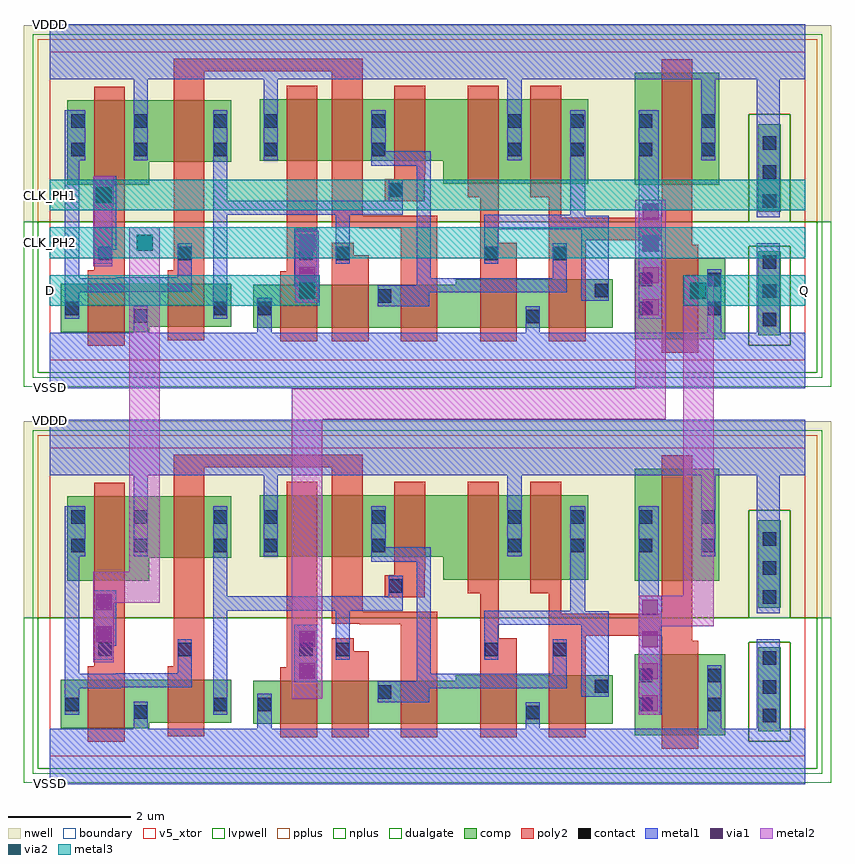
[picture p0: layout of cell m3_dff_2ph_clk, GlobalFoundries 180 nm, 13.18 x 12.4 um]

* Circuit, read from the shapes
.subckt m3_dff_2ph_clk CLK_PH1 CLK_PH2 D Q VDDD VSSD
XM1 VSSD CLK_PH2 n1 VSSD nfet_05v0 w=0.79u l=0.6u
XM2 VSSD CLK_PH1 n2 VSSD nfet_05v0 w=0.79u l=0.6u
XM3 n3 n1 VSSD VSSD nfet_05v0 w=0.7u l=0.6u
XM4 n4 n2 VSSD VSSD nfet_05v0 w=0.7u l=0.6u
XM5 n5 gf180mcu_fd_sc_mcu9t5v0__latq_1_2/D VSSD VSSD nfet_05v0 w=0.7u l=0.6u
XM6 n6 D VSSD VSSD nfet_05v0 w=0.7u l=0.6u
XM7 n7 n3 n5 VSSD nfet_05v0 w=0.7u l=0.6u
XM8 n8 n4 n6 VSSD nfet_05v0 w=0.7u l=0.6u
XM9 n9 n1 n7 VSSD nfet_05v0 w=0.7u l=0.6u
XM10 n10 n2 n8 VSSD nfet_05v0 w=0.7u l=0.6u
XM11 VSSD n11 n9 VSSD nfet_05v0 w=0.79u l=0.6u
XM12 VSSD n12 n10 VSSD nfet_05v0 w=0.79u l=0.6u
XM13 n11 n7 VSSD VSSD nfet_05v0 w=0.79u l=0.6u
XM14 n12 n8 VSSD VSSD nfet_05v0 w=0.79u l=0.6u
XM15 VSSD n7 Q VSSD nfet_05v0 w=1.32u l=0.6u
XM16 VSSD n8 gf180mcu_fd_sc_mcu9t5v0__latq_1_2/D VSSD nfet_05v0 w=1.32u l=0.6u
XM17 VDDD CLK_PH2 n1 VDDD pfet_05v0 w=1.38u l=0.5u
XM18 VDDD CLK_PH1 n2 VDDD pfet_05v0 w=1.38u l=0.5u
XM19 n3 n1 VDDD VDDD pfet_05v0 w=1u l=0.5u
XM20 n4 n2 VDDD VDDD pfet_05v0 w=1u l=0.5u
XM21 n13 gf180mcu_fd_sc_mcu9t5v0__latq_1_2/D VDDD VDDD pfet_05v0 w=1u l=0.5u
XM22 n14 D VDDD VDDD pfet_05v0 w=1u l=0.5u
XM23 n7 n1 n13 VDDD pfet_05v0 w=1u l=0.5u
XM24 n8 n2 n14 VDDD pfet_05v0 w=1u l=0.5u
XM25 n15 n3 n7 VDDD pfet_05v0 w=1u l=0.5u
XM26 n16 n4 n8 VDDD pfet_05v0 w=1u l=0.5u
XM27 VDDD n11 n15 VDDD pfet_05v0 w=1.38u l=0.5u
XM28 VDDD n12 n16 VDDD pfet_05v0 w=1.38u l=0.5u
XM29 n11 n7 VDDD VDDD pfet_05v0 w=1.38u l=0.5u
XM30 n12 n8 VDDD VDDD pfet_05v0 w=1.38u l=0.5u
XM31 VDDD n7 Q VDDD pfet_05v0 w=1.83u l=0.5u
XM32 VDDD n8 gf180mcu_fd_sc_mcu9t5v0__latq_1_2/D VDDD pfet_05v0 w=1.83u l=0.5u
.ends

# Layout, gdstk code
import gdstk
lib = gdstk.Library(unit=1e-6, precision=5e-09)
def R(c, l, rs):  # rectangles x0, y0, x1, y1
    for r in rs: c.add(gdstk.rectangle(r[:2], r[2:], *l))
def A(c, l, x, y, w, h, nx, ny, dx, dy):  # array of equal rectangles
    R(c, l, [(x+i*dx, y+j*dy, x+i*dx+w, y+j*dy+h) for i in range(nx) for j in range(ny)])
def P(c, l, *ps):  # polygons
    for p in ps: c.add(gdstk.Polygon(p, *l))
boundary = (0, 0)
nwell = (21, 0)
comp = (22, 0)
poly2 = (30, 0)
pplus = (31, 0)
nplus = (32, 0)
contact = (33, 0)
metal1 = (34, 0)
via1 = (35, 0)
metal2 = (36, 0)
via2 = (38, 0)
metal3 = (42, 0)
dualgate = (55, 0)
v5_xtor = (112, 1)
lvpwell = (204, 0)

gf180mcu_fd_sc_mcu9t5v0_ = lib.new_cell('gf180mcu_fd_sc_mcu9t5v0__latq_1')
R(gf180mcu_fd_sc_mcu9t5v0_, boundary, [(0,0,11.2,5.04)])
R(gf180mcu_fd_sc_mcu9t5v0_, nwell, [(-0.43,2.265,11.63,5.47)])
R(gf180mcu_fd_sc_mcu9t5v0_, comp, [(9.54,0.345,11.02,1.665), (9.54,2.865,10.92,4.695)])
P(gf180mcu_fd_sc_mcu9t5v0_, comp, [(0.18,0.46),(0.18,1.25),(2.96,1.25),(2.96,0.55),(1.62,0.55),(1.62,0.46)],
  [(0.28,2.865),(0.28,4.245),(2.96,4.245),(2.96,3.245),(1.62,3.245),(1.62,2.865)],
  [(6.42,2.88),(6.42,3.26),(3.42,3.26),(3.42,4.26),(8.78,4.26),(8.78,2.88)],
  [(3.32,0.535),(3.32,1.235),(6.62,1.235),(6.62,1.325),(9.18,1.325),(9.18,0.535)])
P(gf180mcu_fd_sc_mcu9t5v0_, poly2, [(0.62,0.24),(0.62,1.47),(0.72,1.47),(0.72,4.465),(1.22,4.465),(1.22,0.24)],
  [(3.76,0.315),(3.76,1.455),(3.86,1.455),(3.86,4.48),(4.36,4.48),(4.36,0.315)],
  [(4.6,0.315),(4.6,1.925),(4.96,1.925),(4.96,1.715),(5.2,1.715),(5.2,0.315)],
  [(5.46,2.6),(5.46,2.96),(5.62,2.96),(5.62,4.48),(6.12,4.48),(6.12,3.04),(6.115,3.04),(6.115,2.6)],
  [(5.72,0.315),(5.72,2.16),(5.055,2.16),(5.055,2.165),(4.6,2.165),(4.6,4.72),(2.52,4.72),(2.52,0.33),(1.92,0.33),(1.92,1.47),(2.02,1.47),(2.02,4.92),(5.1,4.92),(5.1,2.36),(6.32,2.36),(6.32,0.315)],
  [(7.02,0.315),(7.02,2.66),(6.82,2.66),(6.82,4.48),(7.32,4.48),(7.32,1.925),(7.62,1.925),(7.62,0.315)],
  [(9.98,0.125),(9.98,1.965),(8.74,1.965),(8.74,0.315),(8.14,0.315),(8.14,2.66),(7.84,2.66),(7.84,4.48),(8.34,4.48),(8.34,2.325),(9.98,2.325),(9.98,4.915),(10.48,4.915),(10.48,1.885),(10.58,1.885),(10.58,0.125)])
R(gf180mcu_fd_sc_mcu9t5v0_, pplus, [(-0.2,2.265,11.4,5.24)])
R(gf180mcu_fd_sc_mcu9t5v0_, nplus, [(-0.2,-0.2,11.4,2.265)])
R(gf180mcu_fd_sc_mcu9t5v0_, contact, [(7.77,0.605,7.99,0.825), (1.37,0.615,1.59,0.835), (0.25,0.74,0.47,0.96), (2.67,0.74,2.89,0.96), (3.39,0.74,3.61,0.96), (9.61,0.74,9.83,0.96), (10.73,0.74,10.95,0.96), (5.35,0.945,5.57,1.165), (8.89,1.035,9.11,1.255), (9.61,1.21,9.83,1.43), (10.73,1.21,10.95,1.43), (0.79,1.635,1.01,1.855), (2.09,1.635,2.31,1.855), (4.07,1.635,4.29,1.855), (4.67,1.635,4.89,1.855), (7.09,1.635,7.31,1.855), (8.21,1.635,8.43,1.855), (5.53,2.67,5.75,2.89), (0.35,3.33,0.57,3.55), (1.37,3.33,1.59,3.55), (2.67,3.33,2.89,3.55), (3.49,3.33,3.71,3.55), (5.25,3.33,5.47,3.55), (7.47,3.33,7.69,3.55), (8.49,3.33,8.71,3.55), (9.61,3.33,9.83,3.55), (10.63,3.33,10.85,3.55), (0.35,3.8,0.57,4.02), (1.37,3.8,1.59,4.02), (2.67,3.8,2.89,4.02), (3.49,3.8,3.71,4.02), (5.25,3.8,5.47,4.02), (7.47,3.8,7.69,4.02), (8.49,3.8,8.71,4.02), (9.61,3.8,9.83,4.02), (10.63,3.8,10.85,4.02)])
R(gf180mcu_fd_sc_mcu9t5v0_, metal1, [(9.605,0.68,9.93,4.08), (4.065,1.21,4.33,2.15), (0.71,1.575,1.015,2.71)])
P(gf180mcu_fd_sc_mcu9t5v0_, metal1, [(0.245,0.68),(0.245,4.08),(0.575,4.08),(0.575,3.27),(0.475,3.27),(0.475,1.345),(1.085,1.345),(1.085,1.355),(2.085,1.355),(2.085,1.915),(2.315,1.915),(2.315,1.125),(1.155,1.125),(1.155,1.115),(0.475,1.115),(0.475,0.68)],
  [(2.665,0.68),(2.665,4.08),(2.895,4.08),(2.895,2.61),(5.525,2.61),(5.525,2.95),(5.755,2.95),(5.755,2.38),(4.895,2.38),(4.895,1.575),(4.665,1.575),(4.665,2.38),(2.895,2.38),(2.895,0.68)],
  [(5.345,0.885),(5.345,1.225),(5.985,1.225),(5.985,3.18),(5.245,3.18),(5.245,4.08),(5.475,4.08),(5.475,3.41),(6.215,3.41),(6.215,1.345),(8.205,1.345),(8.205,1.915),(8.435,1.915),(8.435,1.115),(6.19,1.115),(6.19,0.885)],
  [(8.665,0.975),(8.665,2.145),(7.315,2.145),(7.315,1.575),(7.085,1.575),(7.085,2.375),(8.485,2.375),(8.485,4.08),(8.735,4.08),(8.735,2.365),(9.115,2.365),(9.115,0.975)],
  [(0,-0.45),(0,0.45),(1.365,0.45),(1.365,0.895),(1.595,0.895),(1.595,0.45),(3.385,0.45),(3.385,1.02),(3.615,1.02),(3.615,0.45),(7.765,0.45),(7.765,0.885),(7.995,0.885),(7.995,0.45),(10.725,0.45),(10.725,1.49),(10.955,1.49),(10.955,0.45),(11.2,0.45),(11.2,-0.45)],
  [(1.365,3.27),(1.365,4.59),(0,4.59),(0,5.49),(11.2,5.49),(11.2,4.59),(10.855,4.59),(10.855,3.27),(10.625,3.27),(10.625,4.59),(7.695,4.59),(7.695,3.27),(7.465,3.27),(7.465,4.59),(3.715,4.59),(3.715,3.27),(3.485,3.27),(3.485,4.59),(1.595,4.59),(1.595,3.27)])
R(gf180mcu_fd_sc_mcu9t5v0_, dualgate, [(-0.28,-0.28,11.48,5.32)])
R(gf180mcu_fd_sc_mcu9t5v0_, v5_xtor, [(0,0,11.2,5.04)])
R(gf180mcu_fd_sc_mcu9t5v0_, lvpwell, [(-0.43,-0.43,11.63,2.265)])
gf180mcu_fd_sc_mcu9t5v0_.add(gdstk.Label('D', (4.2,1.4), layer=34, texttype=10))
gf180mcu_fd_sc_mcu9t5v0_.add(gdstk.Label('E', (0.84,1.96), layer=34, texttype=10))
gf180mcu_fd_sc_mcu9t5v0_.add(gdstk.Label('Q', (9.8,2.52), layer=34, texttype=10))
gf180mcu_fd_sc_mcu9t5v0_.add(gdstk.Label('VDD', (5.6,5.49), layer=34, texttype=10))
gf180mcu_fd_sc_mcu9t5v0_.add(gdstk.Label('VSS', (5.6,-0.45), layer=34, texttype=10))
gf180mcu_fd_sc_mcu9t5v0_.add(gdstk.Label('& Vendor GLOBALFOUNDRIES', (0,2), layer=63, texttype=63))
gf180mcu_fd_sc_mcu9t5v0_.add(gdstk.Label('& Product GF018hv5v_green_sc9', (0,1.5), layer=63, texttype=63))
gf180mcu_fd_sc_mcu9t5v0_.add(gdstk.Label('& Version 2015q2v2', (0,1), layer=63, texttype=63))
gf180mcu_fd_sc_mcu9t5v0_.add(gdstk.Label('& Metric 1.00', (0,0.5), layer=63, texttype=63))
gf180mcu_fd_sc_mcu9t5v0_.add(gdstk.Label('VNW', (0.345,3.92), layer=21, texttype=10))
gf180mcu_fd_sc_mcu9t5v0_.add(gdstk.Label('VPW', (0.34,-0.085), layer=204, texttype=10))

c_gf180mcu_fd_sc_mcu9t5v0_ = lib.new_cell('gf180mcu_fd_sc_mcu9t5v0__filltie')
R(c_gf180mcu_fd_sc_mcu9t5v0_, boundary, [(0,0,1.12,5.04)])
R(c_gf180mcu_fd_sc_mcu9t5v0_, nwell, [(-0.43,2.265,1.55,5.47)])
R(c_gf180mcu_fd_sc_mcu9t5v0_, comp, [(0.36,0.41,0.72,1.785), (0.36,2.425,0.72,3.855)])
R(c_gf180mcu_fd_sc_mcu9t5v0_, pplus, [(0.2,0.25,0.88,1.865)])
P(c_gf180mcu_fd_sc_mcu9t5v0_, pplus, [(-0.2,2.265),(-0.2,5.24),(1.32,5.24),(1.32,2.265),(0.88,2.265),(0.88,4.015),(0.2,4.015),(0.2,2.265)])
P(c_gf180mcu_fd_sc_mcu9t5v0_, nplus, [(-0.2,-0.2),(-0.2,2.265),(0.2,2.265),(0.2,4.015),(0.88,4.015),(0.88,1.865),(0.2,1.865),(0.2,0.25),(0.88,0.25),(0.88,4.015),(0.88,2.265),(1.32,2.265),(1.32,-0.2)])
A(c_gf180mcu_fd_sc_mcu9t5v0_, contact, 0.43, 0.555, 0.22, 0.22, 1, 3, 0, 0.47)
A(c_gf180mcu_fd_sc_mcu9t5v0_, contact, 0.43, 2.495, 0.22, 0.22, 1, 3, 0, 0.47)
P(c_gf180mcu_fd_sc_mcu9t5v0_, metal1, [(0,-0.45),(0,0.45),(0.33,0.45),(0.33,1.91),(0.71,1.91),(0.71,0.45),(1.12,0.45),(1.12,-0.45)],
  [(0.33,2.34),(0.33,4.59),(0,4.59),(0,5.49),(1.12,5.49),(1.12,4.59),(0.71,4.59),(0.71,2.34)])
R(c_gf180mcu_fd_sc_mcu9t5v0_, dualgate, [(-0.28,-0.28,1.4,5.32)])
R(c_gf180mcu_fd_sc_mcu9t5v0_, v5_xtor, [(0,0,1.12,5.04)])
R(c_gf180mcu_fd_sc_mcu9t5v0_, lvpwell, [(-0.43,-0.43,1.55,2.265)])
c_gf180mcu_fd_sc_mcu9t5v0_.add(gdstk.Label('VSS', (0.56,-0.45), layer=34, texttype=10))
c_gf180mcu_fd_sc_mcu9t5v0_.add(gdstk.Label('VDD', (0.56,5.49), layer=34, texttype=10))
c_gf180mcu_fd_sc_mcu9t5v0_.add(gdstk.Label('& Vendor GLOBALFOUNDRIES', (0,2), layer=63, texttype=63))
c_gf180mcu_fd_sc_mcu9t5v0_.add(gdstk.Label('& Product GF018hv5v_green_sc9', (0,1.5), layer=63, texttype=63))
c_gf180mcu_fd_sc_mcu9t5v0_.add(gdstk.Label('& Version 2015q2v2', (0,1), layer=63, texttype=63))
c_gf180mcu_fd_sc_mcu9t5v0_.add(gdstk.Label('& Metric 1.00', (0,0.5), layer=63, texttype=63))

m3_dff_2ph_clk = lib.new_cell('m3_dff_2ph_clk')
R(m3_dff_2ph_clk, metal1, [(-1.595,-10.82,-1.215,-8.88), (-7.215,-10.29,-6.835,-9.35), (-10.495,-9.925,-10.185,-8.79), (-10.185,-9.695,-10.115,-8.79), (-11.2,-5.49,1.12,-4.59), (-1.595,-4.36,-1.215,-2.42), (-7.215,-3.83,-6.835,-2.89), (-10.495,-3.465,-10.185,-2.03), (-10.185,-3.235,-10.115,-2.03), (-11.2,-0.45,1.12,0.45)])
A(m3_dff_2ph_clk, via1, -1.54, -10.76, 0.26, 0.26, 1, 4, 0, 0.52)
A(m3_dff_2ph_clk, via1, -1.53, -4.3, 0.26, 0.26, 1, 4, 0, 0.52)
R(m3_dff_2ph_clk, via1, [(-7.135,-10.23,-6.875,-9.97), (-7.135,-9.71,-6.875,-9.45), (-10.455,-9.635,-10.195,-9.375), (-10.455,-9.115,-10.195,-8.855), (-7.135,-3.77,-6.875,-3.51), (-7.135,-3.25,-6.875,-2.99), (-10.455,-2.47,-10.195,-2.21)])
R(m3_dff_2ph_clk, metal2, [(-1.595,-10.82,-1.27,-8.88), (-1.27,-10.82,-1.24,-9.38), (-7.135,-10.56,-6.855,-9.385), (-10.495,-9.965,-10.185,-8.49), (-10.185,-9.965,-10.155,-8.99), (-7.195,-4.1,-6.815,-2.925), (-10.495,-3.505,-10.185,-2.03), (-10.185,-2.53,-10.155,-2.03)])
R(m3_dff_2ph_clk, via2, [(-7.135,-4.03,-6.875,-3.77), (-0.75,-4.03,-0.49,-3.77), (-9.785,-3.25,-9.525,-2.99), (-10.455,-2.47,-10.195,-2.21)])
m3_dff_2ph_clk.add(gdstk.FlexPath([(-11.205,-3.9),(-6.795,-3.9)], 0.5, ends="flush", simple_path=True, layer=42, datatype=0))  # metal3
m3_dff_2ph_clk.add(gdstk.FlexPath([(-0.87,-3.9),(1.12,-3.9)], 0.5, ends="flush", simple_path=True, layer=42, datatype=0))  # metal3
m3_dff_2ph_clk.add(gdstk.FlexPath([(-11.205,-3.12),(1.12,-3.12)], 0.5, ends="flush", simple_path=True, layer=42, datatype=0))  # metal3
m3_dff_2ph_clk.add(gdstk.FlexPath([(-11.205,-2.34),(1.12,-2.34)], 0.5, ends="flush", simple_path=True, layer=42, datatype=0))  # metal3
m3_dff_2ph_clk.add(gdstk.FlexPath([(-0.62,-3.65),(-0.62,-8.88)], 0.5, ends="flush", simple_path=True, layer=36, datatype=0))  # metal2
m3_dff_2ph_clk.add(gdstk.FlexPath([(-1.27,-9.13),(-0.37,-9.13)], 0.5, ends="flush", simple_path=True, layer=36, datatype=0))  # metal2
m3_dff_2ph_clk.add(gdstk.FlexPath([(-7.255,-5.75),(-1.15,-5.75)], 0.5, ends="flush", simple_path=True, layer=36, datatype=0))  # metal2
m3_dff_2ph_clk.add(gdstk.FlexPath([(-9.655,-2.87),(-9.655,-8.99)], 0.5, ends="flush", simple_path=True, layer=36, datatype=0))  # metal2
m3_dff_2ph_clk.add(gdstk.FlexPath([(-10.185,-8.74),(-9.905,-8.74)], 0.5, ends="flush", simple_path=True, layer=36, datatype=0))  # metal2
m3_dff_2ph_clk.add(gdstk.FlexPath([(-1.4,-2.42),(-1.4,-5.5)], 0.5, ends="flush", simple_path=True, layer=36, datatype=0))  # metal2
m3_dff_2ph_clk.add(gdstk.FlexPath([(-7.005,-6),(-7.005,-10.56)], 0.5, ends="flush", simple_path=True, layer=36, datatype=0))  # metal2
m3_dff_2ph_clk.add(gdstk.Reference(gf180mcu_fd_sc_mcu9t5v0_, (-11.2,-5.04)))
m3_dff_2ph_clk.add(gdstk.Reference(c_gf180mcu_fd_sc_mcu9t5v0_, (0,-5.04)))
m3_dff_2ph_clk.add(gdstk.Reference(gf180mcu_fd_sc_mcu9t5v0_, (-11.2,-11.5)))
m3_dff_2ph_clk.add(gdstk.Reference(c_gf180mcu_fd_sc_mcu9t5v0_, (0,-11.5)))
m3_dff_2ph_clk.add(gdstk.Label('VSSD', (-11.185,-11.945), layer=34, texttype=10))
m3_dff_2ph_clk.add(gdstk.Label('VDDD', (-11.185,-6.025), layer=34, texttype=10))
m3_dff_2ph_clk.add(gdstk.Label('VSSD', (-11.19,-5.48), layer=34, texttype=10))
m3_dff_2ph_clk.add(gdstk.Label('VDDD', (-11.19,0.44), layer=34, texttype=10))
m3_dff_2ph_clk.add(gdstk.Label('Q', (1.105,-3.9), layer=42, texttype=10))
m3_dff_2ph_clk.add(gdstk.Label('CLK_PH1', (-11.195,-2.34), layer=42, texttype=10))
m3_dff_2ph_clk.add(gdstk.Label('CLK_PH2', (-11.195,-3.12), layer=42, texttype=10))
m3_dff_2ph_clk.add(gdstk.Label('D', (-11.195,-3.9), layer=42, texttype=10))

lib.write_gds('m3_dff_2ph_clk.gds')
